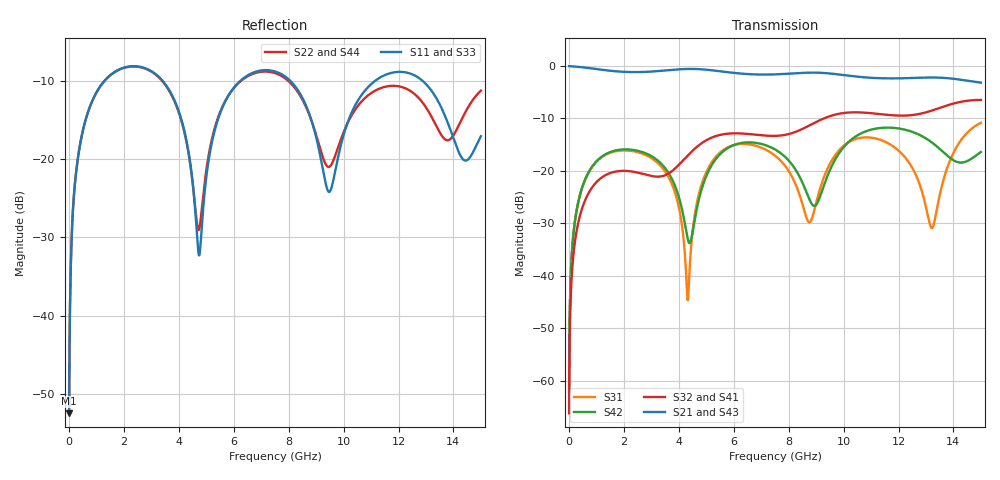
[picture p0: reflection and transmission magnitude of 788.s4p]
! Created with skrf 1.8.0 (http://scikit-rf.org).
# GHz S RI R 50.0
!freq ReS11 ImS11 ReS12 ImS12 ReS13 ImS13
! ReS14 ImS14
! ReS21 ImS21 ReS22 ImS22 ReS23 ImS23
! ReS24 ImS24
! ReS31 ImS31 ReS32 ImS32 ReS33 ImS33
! ReS34 ImS34
! ReS41 ImS41 ReS42 ImS42 ReS43 ImS43
! ReS44 ImS44
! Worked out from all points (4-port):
!   2499 points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, 5 MHz to 15 GHz, reference 50 ohm
!   strongest paths, dB at 5 MHz, 3.476 GHz, 7.19 GHz, 11.1 GHz, 15 GHz:
!     S21: 0.0, -0.8, -1.6, -2.3, -3.2
!     S43: 0.0, -0.9, -1.6, -2.3, -3.2
!     S32: -66.3, -20.9, -13.3, -9.0, -6.5
!     S41: -66.3, -20.9, -13.3, -9.1, -6.4
!     S42: -62.3, -19.3, -15.2, -12.0, -16.4
!     S31: -62.3, -19.9, -16.0, -13.7, -10.8
!   lowest |S11| = -52.5 dB at 5 MHz (marker M1), VSWR 1.00, Z = 50.2 + j0.144 ohm
!   |S11| at or under -10 dB: 3.414 GHz to 6.237 GHz (2.823 GHz wide, 58.5 % of centre); 8.062 GHz to 11.14 GHz (3.082 GHz wide, 32.1 % of centre); 12.88 GHz to end of sweep (the widest 3 of 4)
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0.005  0.00189 0.00144  0.9981 -0.00369  9.63e-05 0.000764  -9.35e-05 -0.000477
       0.9981 -0.00369  0.00189 0.00144  -9.35e-05 -0.000477  9.65e-05 0.000764
       9.63e-05 0.000764  -9.35e-05 -0.000477  0.00189 0.00144  0.9981 -0.00369
       -9.35e-05 -0.000477  9.65e-05 0.000764  0.9981 -0.00369  0.00189 0.00144
0.3126303  0.0308 0.0932  0.9579 -0.2278  0.0143 0.0446  -0.0121 -0.0272
           0.9579 -0.2278  0.0307 0.0932  -0.0121 -0.0272  0.0149 0.0444
           0.0143 0.0446  -0.0121 -0.0272  0.0308 0.0932  0.9579 -0.2278
           -0.0121 -0.0272  0.0149 0.0444  0.9579 -0.2278  0.0307 0.0932
1.419341  0.2883 0.1692  0.5107 -0.7501  0.1326 0.0612  -0.0934 0.000211
          0.5107 -0.7501  0.2862 0.1707  -0.0935 0.000332  0.1384 0.0526
          0.1326 0.0612  -0.0935 0.000332  0.2883 0.1692  0.5107 -0.7501
          -0.0934 0.000211  0.1384 0.0526  0.5107 -0.7501  0.2863 0.1707
4.326803  0.0519 -0.1067  -0.8802 -0.3269  0.0057 0.00125  -0.0454 0.133
          -0.8802 -0.3269  0.0611 -0.0987  -0.0437 0.1336  -0.0196 -0.0108
          0.0057 0.00125  -0.0437 0.1336  0.0534 -0.1068  -0.8801 -0.3269
          -0.0454 0.133  -0.0196 -0.0108  -0.8801 -0.3269  0.0599 -0.0997
5.508545  0.1286 0.1501  -0.7977 0.399  0.1128 0.0992  0.1273 0.1801
          -0.7977 0.399  0.1374 0.147  0.1294 0.1787  0.1069 0.0979
          0.1128 0.0992  0.1294 0.1787  0.1301 0.1488  -0.7976 0.3993
          0.1273 0.1801  0.1069 0.0979  -0.7976 0.3993  0.1361 0.148
9.535223  0.0632 0.00892  0.8423 0.1001  -0.00309 0.1214  0.033 -0.3338
          0.8423 0.1001  0.091 0.00707  0.0256 -0.334  0.00817 0.1062
          -0.00309 0.1214  0.0256 -0.334  0.0672 0.00493  0.8423 0.0994
          0.033 -0.3338  0.00817 0.1062  0.8423 0.0994  0.0879 0.00461
15  0.1337 0.042  -0.6779 0.1542  0.2175 0.1877  0.1511 0.4513
    -0.6779 0.1542  0.2575 0.0941  0.166 0.4458  0.0666 0.1359
    0.2175 0.1877  0.166 0.4458  0.1367 0.0376  -0.6762 0.1604
    0.1511 0.4513  0.0666 0.1359  -0.6762 0.1604  0.2543 0.1001
